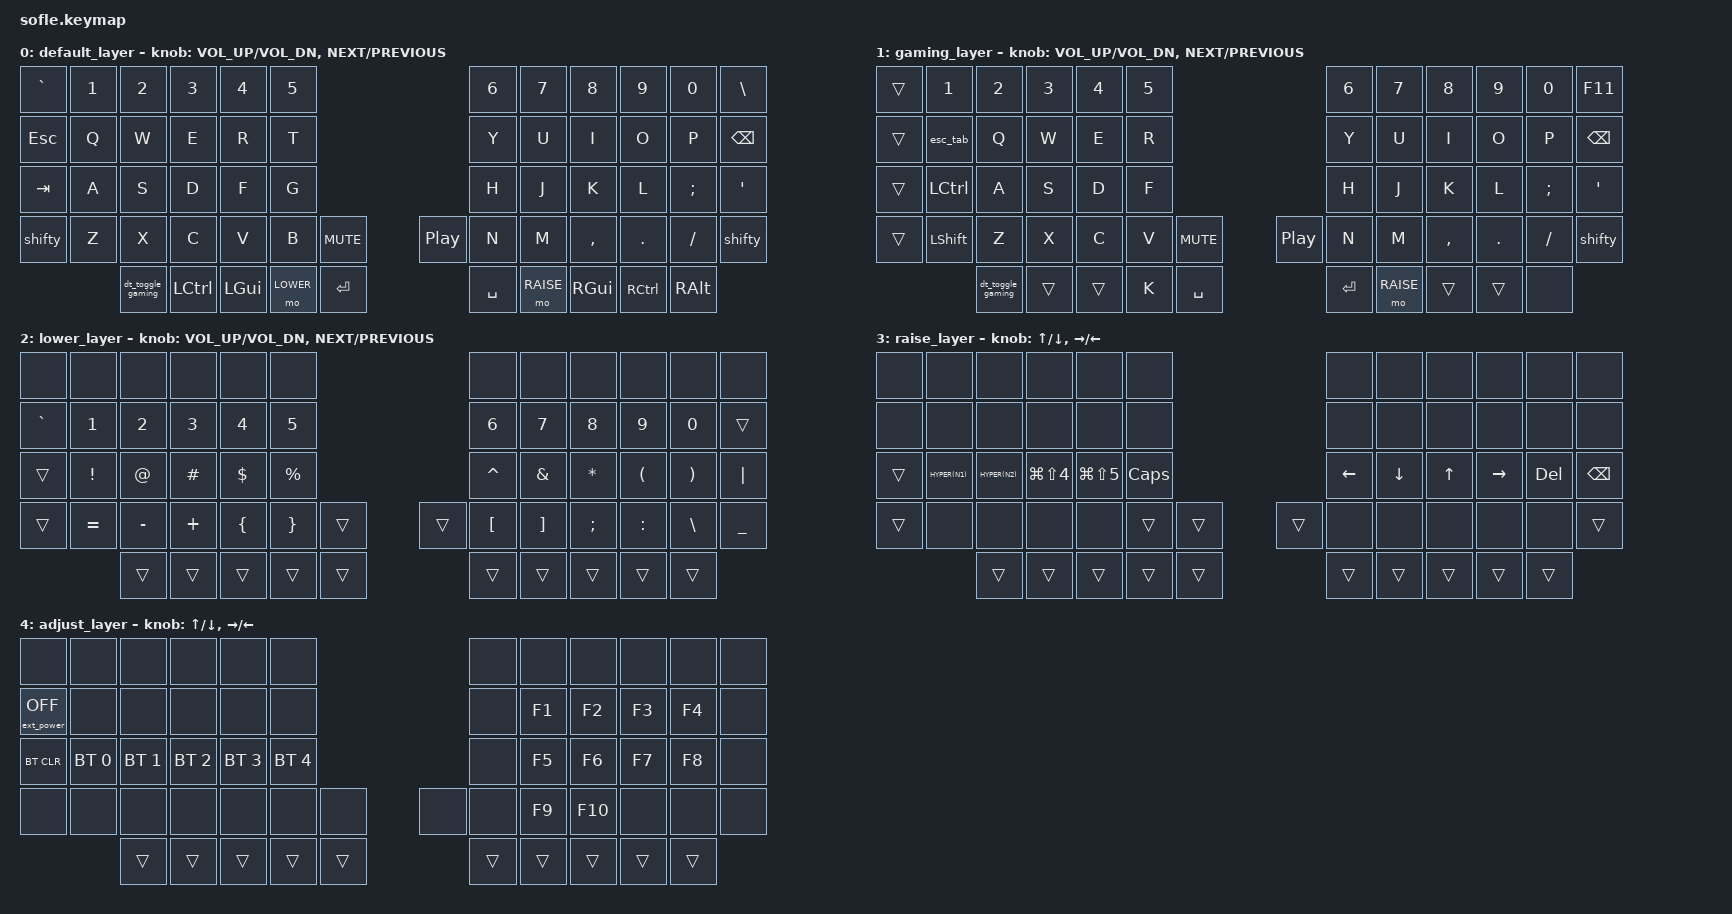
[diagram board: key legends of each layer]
/*
 * Copyright (c) 2020 The ZMK Contributors
 *
 * SPDX-License-Identifier: MIT
 */

#include <behaviors.dtsi>
#include <dt-bindings/zmk/keys.h>
#include <dt-bindings/zmk/bt.h>
#include <dt-bindings/zmk/ext_power.h>

#define DEFAULT 0
#define GAMING  1
#define LOWER   2
#define RAISE   3
#define ADJUST  4
#define HYPER(key) LS(LC(LA(LG(key))))

&left_encoder {
    steps = <60>;
};

&right_encoder {
    steps = <60>;
};

&mt {
    tapping-term-ms = <200>;
    quick-tap-ms = <150>;
};

/ {
    behaviors {
        shifty: shift_caps_word {
            compatible = "zmk,behavior-tap-dance";
            #binding-cells = <0>;
            tapping-term-ms = <150>;
            bindings = <&kp LSHIFT >, <&caps_word>;
        };
        esc_tab: gaming_esc_tab {
            compatible = "zmk,behavior-tap-dance";
            #binding-cells = <0>;
            tapping-term-ms = <150>;
            bindings = <&kp ESC>, <&kp TAB>;
        };
        layer_alt: gaming_layer {
            compatible = "zmk,behavior-tap-dance";
            #binding-cells = <0>;
            tapping-term-ms = <150>;
            bindings = <&kp LALT>, <&tog GAMING>;
        };
        dt_toggle_gaming: double_tap_toggle_layer {
            compatible = "zmk,behavior-tap-dance";
            #binding-cells = <0>;
            tapping-term-ms = <200>;
            bindings = <&kp LALT>, <&tog GAMING>;
        };
    };
    conditional_layers {
        compatible = "zmk,conditional-layers";
        tri_layer {
            if-layers = <2 3>;
            then-layer = <4>;
        };
    };
    sensors {
        triggers-per-rotation = <30>;
    };
    keymap {
        compatible = "zmk,keymap";
        default_layer {
// ------------------------------------------------------------------------------------------------------------
// |  `    |  1  |  2  |  3   |  4   |  5   |                          |  6    |  7    |  8    |  9   |   0   |   \   |
// |  ESC  |  Q  |  W  |  E   |  R   |  T   |                          |  Y    |  U    |  I    |  O   |   P   | BKSPC |
// |  CTRL |  A  |  S  |  D   |  F   |  G   |                          |  H    |  J    |  K    |  L   |   ;   |   '   |
// | SHIFT |  Z  |  X  |  C   |  V   |  B   |  MUTE  |  |  Play/Pause  |  N    |  M    |  ,    |  .   |   /   | SHIFT |
//               |     | ALT  | GUI | LOWER |  ENTER |  |     SPACE    | RAISE |  GUI  | ALT   |      |
            bindings = <
&kp GRAVE     &kp N1 &kp N2   &kp N3     &kp N4    &kp N5                                           &kp N6     &kp N7    &kp N8    &kp N9   &kp N0   &kp BSLH
&kp ESC       &kp Q  &kp W    &kp E      &kp R     &kp T                                            &kp Y      &kp U     &kp I     &kp O    &kp P    &kp BSPC
&kp TAB       &kp A  &kp S    &kp D      &kp F     &kp G                                            &kp H      &kp J     &kp K     &kp L    &kp SEMI &kp SQT
&shifty       &kp Z  &kp X    &kp C      &kp V     &kp B     &kp C_MUTE            &kp C_PLAY_PAUSE &kp N      &kp M     &kp COMMA &kp DOT  &kp FSLH &shifty
                     &dt_toggle_gaming  &kp LCTRL  &kp LGUI  &mo LOWER &kp RET               &kp SPACE        &mo RAISE  &kp RGUI  &kp RCTRL &kp RALT
            >;

            sensor-bindings = <&inc_dec_kp C_VOL_UP C_VOL_DN &inc_dec_kp C_NEXT C_PREVIOUS>;
            //sensor-bindings = <&inc_dec_kp UP DOWN &inc_dec_kp RIGHT LEFT>;
        };

        gaming_layer {
// ------------------------------------------------------------------------------------------------------------
// |       |  F1 |  F2 |  F3  |  F4  |  F5  |                          |  F6   |  F7   |  F8   |  F9  |  F10  |  F11  |
// |  ESC  |  Q  |  W  |  E   |  R   |  T   |                          |  Y    |  U    |  I    |  O   |   P   | BKSPC |
// |  CTRL |  A  |  S  |  D   |  F   |  G   |                          |  H    |  J    |  K    |  L   |   ;   |   '   |
// | SHIFT |  Z  |  X  |  C   |  V   |  B   |  MUTE  |  |  Play/Pause  |  N    |  M    |  ,    |  .   |   /   | SHIFT |
//               |     | ALT  | GUI | LOWER |  ENTER |  |     SPACE    | RAISE |  GUI  | ALT   |      |
            bindings = <
&trans   &kp N1     &kp N2   &kp N3     &kp N4    &kp N5                                           &kp N6     &kp N7    &kp N8    &kp N9   &kp N0   &kp F11
&trans   &esc_tab   &kp Q    &kp W      &kp E     &kp R                                            &kp Y      &kp U     &kp I     &kp O    &kp P    &kp BSPC
&trans   &kp LCTRL  &kp A    &kp S      &kp D     &kp F                                            &kp H      &kp J     &kp K     &kp L    &kp SEMI &kp SQT
&trans   &kp LSHIFT &kp Z    &kp X      &kp C     &kp V  &kp C_MUTE            &kp C_PLAY_PAUSE &kp N      &kp M     &kp COMMA &kp DOT  &kp FSLH &shifty
                    &dt_toggle_gaming   &trans    &trans &kp K &kp SPACE       &kp RET          &mo RAISE  &trans    &trans    &none
            >;

            sensor-bindings = <&inc_dec_kp C_VOL_UP C_VOL_DN &inc_dec_kp C_NEXT C_PREVIOUS>;
            //sensor-bindings = <&inc_dec_kp UP DOWN &inc_dec_kp RIGHT LEFT>;
        };

        lower_layer {
// TODO: Some binds are waiting for shifted keycode support.
// ------------------------------------------------------------------------------------------------------------
// |       |     |     |      |      |      |                   |      |       |       |      |       |       |
// | `     |   1 |   2 |   3  |   4  |   5  |                   |   6  |   7   |   8   |   9  |    0  |       |
// |       |  !  |  @  |  #   |  $   |  %   |                   |  ^   |  &    |  *    |  (   |   )   |   |   |
// |       |  =  |  -  |  +   |  {   |  }   |        |  |       |  [   |  ]    |  ;    |  :   |   \   |   _   |
//               |     |      |      |      |        |  |       |      |       |       |      |
            bindings = <
&none     &none     &none     &none       &none     &none                     &none     &none    &none           &none     &none     &none
&kp GRAVE &kp N1    &kp N2    &kp N3      &kp N4    &kp N5                    &kp N6    &kp N7   &kp N8          &kp N9    &kp N0    &trans
&trans    &kp EXCL  &kp AT    &kp HASH    &kp DLLR  &kp PRCNT                 &kp CARET &kp AMPS &kp ASTERISK    &kp LPAR  &kp RPAR  &kp PIPE
&trans    &kp EQUAL &kp MINUS &kp PLUS    &kp LBRC  &kp RBRC  &trans   &trans &kp LBKT  &kp RBKT &kp SEMI        &kp COLON &kp BSLH  &kp UNDERSCORE
                    &trans    &trans      &trans    &trans    &trans   &trans &trans    &trans   &trans          &trans
            >;

            sensor-bindings = <&inc_dec_kp C_VOL_UP C_VOL_DN &inc_dec_kp C_NEXT C_PREVIOUS>;
            //sensor-bindings = <&inc_dec_kp UP DOWN &inc_dec_kp RIGHT LEFT>;
        };

        raise_layer {
// ------------------------------------------------------------------------------------------------------------
// |       |         |         |          |        |      |                |      |          |       |      |       |       |
// |       |         |         |          |        |      |                |      |          |   ^   |      |       |       |
// |       |HYPER + 1|HYPER + 2|screenshot| scrsht | CAPS |                |      |   <-     |   v   |  ->  |  DEL  | BKSPC |
// |       |         |         |          |        |      |      |  |      |      |          |       |      |       |       |
//         |         |         |          |        |      |      |  |      |      |          |       |
            bindings = <
&none      &none           &none         &none              &none             &none                      &none       &none       &none       &none       &none       &none
&none      &none           &none         &none              &none             &none                      &none       &none       &none       &none       &none       &none
&trans     &kp HYPER(N1)   &kp HYPER(N2) &kp LG(LS(N4))     &kp LG(LS(N5))    &kp CLCK                   &kp LEFT    &kp DOWN    &kp UP      &kp RIGHT   &kp DEL     &kp BSPC
&trans     &none           &none         &none              &none             &trans    &trans   &trans  &none       &none       &none       &none       &none       &trans
                           &trans        &trans             &trans            &trans    &trans   &trans  &trans      &trans      &trans      &trans
            >;

            //sensor-bindings = <&inc_dec_kp C_VOL_UP C_VOL_DN &inc_dec_kp C_NEXT C_PREVIOUS>;
            sensor-bindings = <&inc_dec_kp UP DOWN &inc_dec_kp RIGHT LEFT>;
        };

        adjust_layer {
// ------------------------------------------------------------------------------------------------------------
// |EXT POWER OFF|       |      |       |       |      |                |      |  F1   |  F2   |  F3  |  F4   |       |
// |             |       |      |       |       |      |                |      |  F5   |  F6   |  F7  |  F8   |       |
// | BTCLR       |  BT1  | BT2  |  BT3  |  BT4  | BT5  |                |      |  F9   |  F10  |      |       |       |
// |             |       |      |       |       |      |      |  |      |      |       |       |      |       |       |
//               |       |      |       |       |      |      |  |      |      |       |       |
            bindings = <
&none              &none           &none           &none            &none              &none                    &none   &none   &none   &none   &none   &none
&ext_power EP_OFF  &none           &none           &none            &none              &none                    &none   &kp F1  &kp F2  &kp F3  &kp F4  &none
&bt BT_CLR         &bt BT_SEL 0    &bt BT_SEL 1    &bt BT_SEL 2     &bt BT_SEL 3       &bt BT_SEL 4             &none   &kp F5  &kp F6  &kp F7  &kp F8   &none
&none              &none           &none           &none            &none              &none   &none    &none   &none   &kp F9  &kp F10 &none   &none   &none
                                   &trans          &trans           &trans            &trans   &trans   &trans  &trans  &trans  &trans  &trans
            >;

            //sensor-bindings = <&inc_dec_kp C_VOL_UP C_VOL_DN &inc_dec_kp C_NEXT C_PREVIOUS>;
            sensor-bindings = <&inc_dec_kp UP DOWN &inc_dec_kp RIGHT LEFT>;
        };
    };
};
